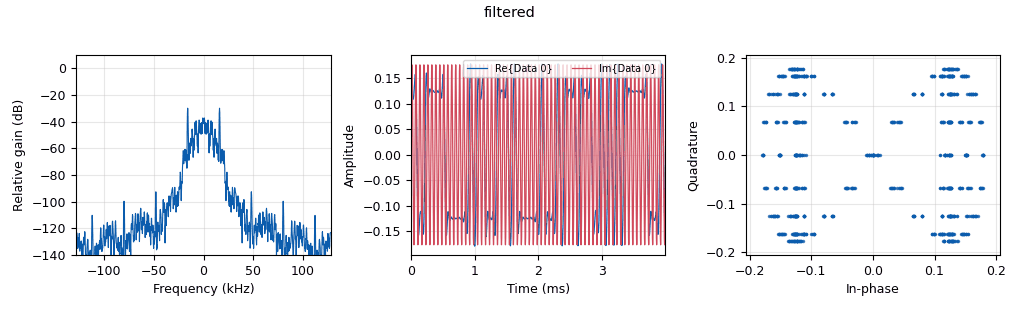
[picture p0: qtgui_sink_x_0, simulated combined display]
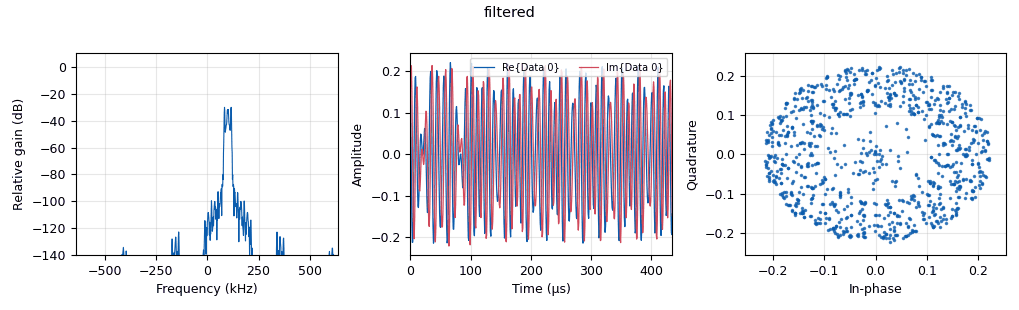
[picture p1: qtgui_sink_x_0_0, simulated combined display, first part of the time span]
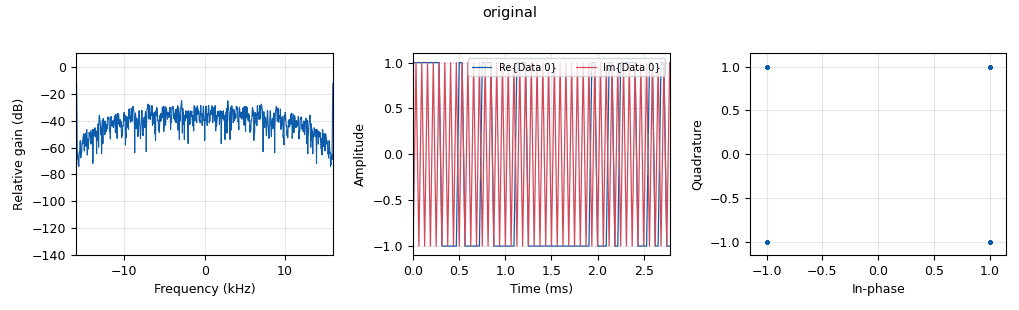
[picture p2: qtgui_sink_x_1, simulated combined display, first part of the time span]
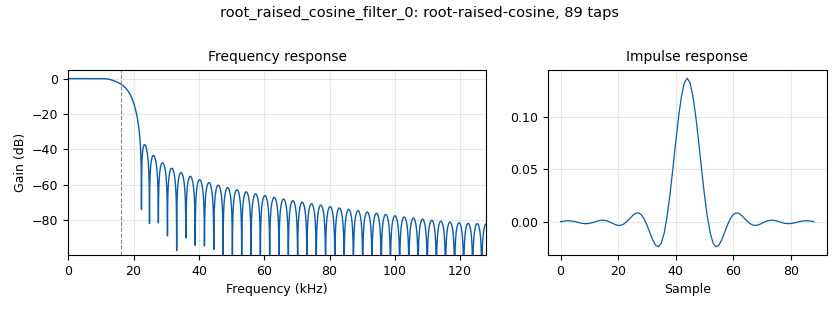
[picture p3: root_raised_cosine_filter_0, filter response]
options:
  parameters:
    generate_options: qt_gui
    id: lab73
    output_language: python
    title: lab73
  states: {}

blocks:
- name: alpha
  id: variable_qtgui_range
  parameters:
    start: '0'
    step: '0.001'
    stop: '1'
    value: '0.35'
  states: {}
- name: samples_per_symbol
  id: variable_qtgui_range
  parameters:
    rangeType: int
    start: '0'
    step: '1'
    stop: '16'
    value: '8'
  states: {}
- name: symbol_rate
  id: variable_qtgui_range
  parameters:
    rangeType: int
    start: '1600'
    step: '1'
    stop: '160000'
    value: '32000'
  states: {}
- name: analog_random_source_x_0
  id: analog_random_source_x
  parameters:
    max: '2'
    min: '0'
    num_samps: '1000'
    repeat: 'True'
    type: byte
  states: {}
- name: analog_sig_source_x_0
  id: analog_sig_source_x
  parameters:
    amp: '1'
    freq: '100000'
    offset: '0'
    phase: '0'
    samp_rate: symbol_rate*samples_per_symbol*5
    type: complex
    waveform: analog.GR_COS_WAVE
  states: {}
- name: blocks_multiply_xx_0
  id: blocks_multiply_xx
  parameters:
    type: complex
  states: {}
- name: blocks_throttle_3
  id: blocks_throttle
  parameters:
    samples_per_second: symbol_rate
    type: complex
  states: {}
- name: blocks_throttle_4
  id: blocks_throttle
  parameters:
    samples_per_second: symbol_rate*samples_per_symbol
    type: complex
  states: {}
- name: blocks_throttle_4_0
  id: blocks_throttle
  parameters:
    samples_per_second: symbol_rate*samples_per_symbol*5
    type: complex
  states: {}
- name: digital_chunks_to_symbols_xx_0
  id: digital_chunks_to_symbols_xx
  parameters:
    dimension: '2'
    in_type: byte
    out_type: complex
    symbol_table: ((-1-1j), (-1+1j), (1-1j), (1+1j))
  states: {}
- name: interp_fir_filter_xxx_0
  id: interp_fir_filter_xxx
  parameters:
    interp: samples_per_symbol
    taps: '1'
    type: ccc
  states: {}
- name: qtgui_sink_x_0
  id: qtgui_sink_x
  parameters:
    bw: symbol_rate*samples_per_symbol
    fc: '0'
    fftsize: '1024'
    name: filtered
    type: complex
  states: {}
- name: qtgui_sink_x_0_0
  id: qtgui_sink_x
  parameters:
    bw: symbol_rate*samples_per_symbol*5
    fc: '0'
    fftsize: '1024'
    name: filtered
    type: complex
  states: {}
- name: qtgui_sink_x_1
  id: qtgui_sink_x
  parameters:
    bw: symbol_rate
    fc: '0'
    fftsize: '1024'
    name: original
    type: complex
  states: {}
- name: rational_resampler_xxx_0
  id: rational_resampler_xxx
  parameters:
    decim: '1'
    interp: '5'
    type: ccc
  states: {}
- name: root_raised_cosine_filter_0
  id: root_raised_cosine_filter
  parameters:
    alpha: alpha
    gain: '1'
    interp: '1'
    ntaps: 11*samples_per_symbol
    samp_rate: symbol_rate*samples_per_symbol
    sym_rate: symbol_rate
    type: interp_fir_filter_ccf
  states: {}

connections:
- [analog_random_source_x_0, '0', digital_chunks_to_symbols_xx_0, '0']
- [analog_sig_source_x_0, '0', blocks_multiply_xx_0, '1']
- [blocks_multiply_xx_0, '0', blocks_throttle_4_0, '0']
- [blocks_throttle_3, '0', qtgui_sink_x_1, '0']
- [blocks_throttle_4, '0', qtgui_sink_x_0, '0']
- [blocks_throttle_4_0, '0', qtgui_sink_x_0_0, '0']
- [digital_chunks_to_symbols_xx_0, '0', blocks_throttle_3, '0']
- [digital_chunks_to_symbols_xx_0, '0', interp_fir_filter_xxx_0, '0']
- [interp_fir_filter_xxx_0, '0', root_raised_cosine_filter_0, '0']
- [rational_resampler_xxx_0, '0', blocks_multiply_xx_0, '0']
- [root_raised_cosine_filter_0, '0', blocks_throttle_4, '0']
- [root_raised_cosine_filter_0, '0', rational_resampler_xxx_0, '0']

metadata:
  file_format: 1
